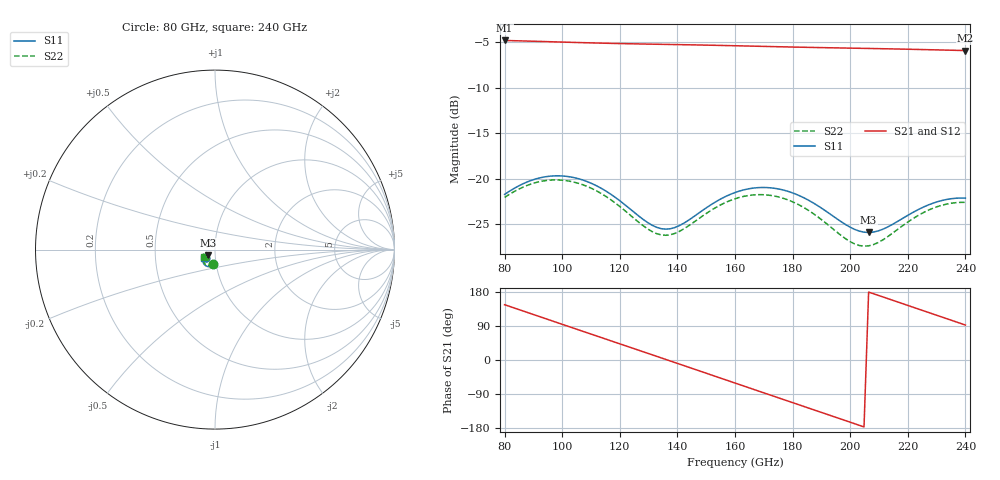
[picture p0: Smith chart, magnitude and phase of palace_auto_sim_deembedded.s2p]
! Created with skrf 1.11.0 (http://scikit-rf.org).
# GHz S DB R 50.0
!freq dBS11 angS11 dBS21 angS21 dBS12 angS12 dBS22 angS22
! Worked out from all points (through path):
!   101 points, 80 GHz to 240 GHz, reference 50 ohm
!   highest |S21| = -4.78 dB at 80 GHz (marker M1); lowest = -5.9 dB at 240 GHz (marker M2)
!   group delay of S21, straight-line fit = 7.18 ps
!   lowest |S11| = -25.9 dB at 206.4 GHz (marker M3), VSWR 1.11, Z = 46.1 - j2.9 ohm
!   |S11| at or under -10 dB: start of sweep to end of sweep
!   |S22| runs from -27.5 to -20.2 dB; largest |S21 - S12| = 6.5e-14
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80  -21.75 -97.2  -4.78 145.9  -4.78 145.9  -22.08 -98.5
88  -20.35 -104.1  -4.85 125.2  -4.85 125.2  -20.74 -105.8
94.4  -19.79 -112.8  -4.91 108.7  -4.91 108.7  -20.22 -114.9
100.8  -19.74 -122.4  -4.97 92.1  -4.97 92.1  -20.21 -124.7
107.2  -20.17 -131.7  -5.02 75.6  -5.02 75.6  -20.69 -134.3
113.6  -21.08 -139.6  -5.08 59.1  -5.08 59.1  -21.66 -142.5
121.6  -22.85 -145.0  -5.13 38.6  -5.13 38.6  -23.50 -148.1
128  -24.48 -143.0  -5.17 22.1  -5.17 22.1  -25.17 -146.1
134.4  -25.53 -133.9  -5.21 5.5  -5.21 5.5  -26.22 -136.9
139.2  -25.39 -125.4  -5.23 -6.9  -5.23 -6.9  -26.04 -128.5
147.2  -23.86 -118.0  -5.28 -27.6  -5.28 -27.6  -24.47 -121.9
160  -21.54 -124.8  -5.36 -60.8  -5.36 -60.8  -22.23 -129.9
166.4  -21.05 -132.1  -5.41 -77.4  -5.41 -77.4  -21.80 -137.8
172.8  -21.04 -139.9  -5.46 -93.9  -5.46 -93.9  -21.88 -146.2
179.2  -21.49 -147.3  -5.50 -110.4  -5.50 -110.4  -22.46 -153.9
187.2  -22.69 -154.0  -5.55 -131.1  -5.55 -131.1  -23.87 -160.9
196.8  -24.74 -153.9  -5.61 -155.9  -5.61 -155.9  -26.26 -159.5
206.4  -25.95 -141.5  -5.66 179.3  -5.66 179.3  -27.42 -143.3
214.4  -25.10 -131.2  -5.71 158.6  -5.71 158.6  -26.09 -132.0
227.2  -22.90 -131.8  -5.80 125.4  -5.80 125.4  -23.48 -134.6
233.6  -22.30 -137.0  -5.85 108.8  -5.85 108.8  -22.81 -140.9
240  -22.16 -143.2  -5.89 92.3  -5.89 92.3  -22.62 -147.9
